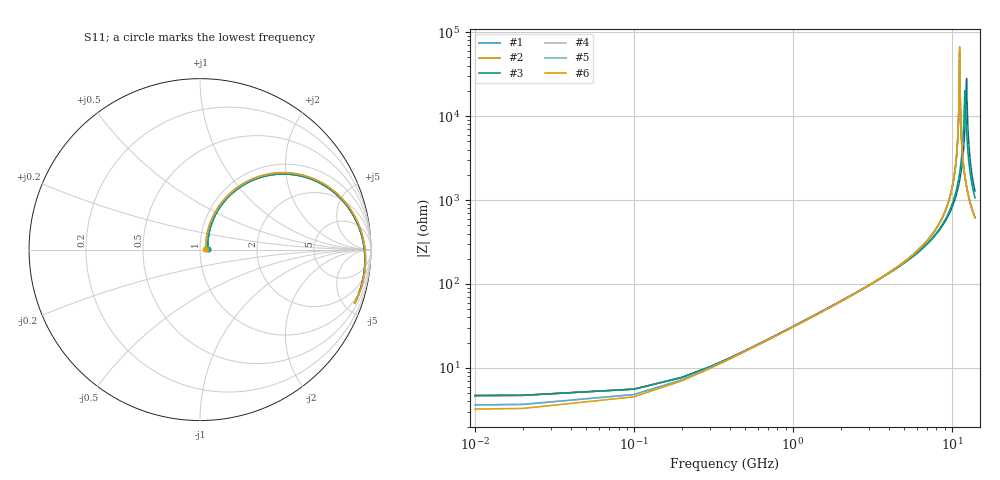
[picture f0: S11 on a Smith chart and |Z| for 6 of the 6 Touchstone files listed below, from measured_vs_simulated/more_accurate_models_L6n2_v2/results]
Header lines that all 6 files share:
#  GHZ S DB R 50.0
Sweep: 10 MHz to 14 GHz
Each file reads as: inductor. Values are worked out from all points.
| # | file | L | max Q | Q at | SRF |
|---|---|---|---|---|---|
| 1 | L6n2_with_ports_1um_passi3D.s2p | 4.86 nH | 30.7 | 8.2 GHz | 12.3 GHz |
| 2 | L6n2_with_ports_2um_mergecorrection_filled.s2p | 4.86 nH | 24.7 | 6.9 GHz | 11.1 GHz |
| 3 | L6n2_with_ports_5um_passi3D.s2p | 4.86 nH | 25.4 | 7.4 GHz | 12.1 GHz |
| 4 | L6n2_with_ports_surfacemesh_2um_mergecorrection.s2p | 4.85 nH | 50.3 | 8.3 GHz | 11.2 GHz |
| 5 | L6n2_with_ports_surfacemesh_2um_noviamerge.s2p | 4.85 nH | 50.4 | 8.3 GHz | 11.2 GHz |
| 6 | L6n2_with_ports_surfacemesh_2um_viamerge.s2p | 4.85 nH | 58.5 | 8.5 GHz | 11.2 GHz |
